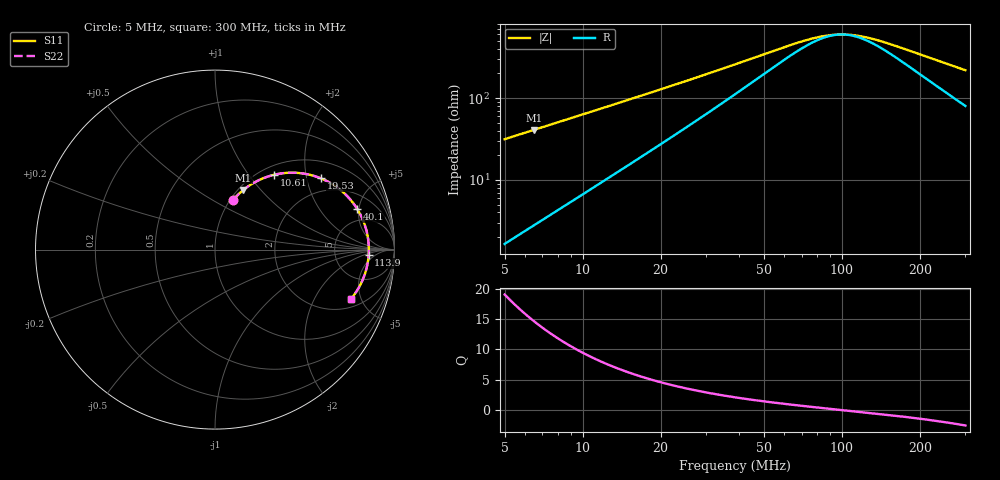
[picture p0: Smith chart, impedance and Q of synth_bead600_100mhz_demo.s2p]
! synthetic ferrite_bead synth_bead600_100mhz_demo nominal=1e-06 esr=600 srf=0.1GHz (rfauto core.vendor_passives generator)
# GHZ S RI R 50
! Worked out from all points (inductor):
!   4001 points, 5 MHz to 300 MHz, reference 50 ohm
!   read as one part in series: L = 990 nH near 6.475 MHz
!   highest Q = 14.7 at 6.475 MHz (marker M1), where L = 1 uH
!   self-resonance near 100 MHz
!   S11 on the Smith chart (normalised r, x): 5 MHz: 1.03, +0.63; 10.61 MHz: 1.15, +1.33; 19.53 MHz: 1.52, +2.44; 40.1 MHz: 3.40, +4.80; 113.9 MHz: 12, -3; 300 MHz: 2.60, -4.08
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0.005  0.102 0.2775  0.898 -0.2775  0.898 -0.2775  0.102 0.2775
0.006475  0.1587 0.3329  0.8413 -0.3329  0.8413 -0.3329  0.1587 0.3329
0.0083925  0.2378 0.3837  0.7622 -0.3837  0.7622 -0.3837  0.2378 0.3837
0.010605  0.3274 0.4165  0.6726 -0.4165  0.6726 -0.4165  0.3274 0.4165
0.01267  0.4039 0.4279  0.5961 -0.4279  0.5961 -0.4279  0.4039 0.4279
0.01503  0.4797 0.4255  0.5203 -0.4255  0.5203 -0.4255  0.4797 0.4255
0.01952875  0.5905 0.3968  0.4095 -0.3968  0.4095 -0.3968  0.5905 0.3968
0.023585  0.6602 0.3606  0.3398 -0.3606  0.3398 -0.3606  0.6602 0.3606
0.02823125  0.7156 0.3182  0.2844 -0.3182  0.2844 -0.3182  0.7156 0.3182
0.03368875  0.7593 0.2726  0.2407 -0.2726  0.2407 -0.2726  0.7593 0.2726
0.040105  0.7926 0.2262  0.2074 -0.2262  0.2074 -0.2262  0.7926 0.2262
0.05419125  0.8309 0.1477  0.1691 -0.1477  0.1691 -0.1477  0.8309 0.1477
0.06687625  0.8464 0.0954  0.1536 -0.0954  0.1536 -0.0954  0.8464 0.0954
0.07897125  0.8535 0.0555  0.1465 -0.0555  0.1465 -0.0555  0.8535 0.0555
0.090845  0.8566 0.0225  0.1434 -0.0225  0.1434 -0.0225  0.8566 0.0225
0.1033825  0.8571 -0.00778  0.1429 0.00778  0.1429 0.00778  0.8571 -0.00778
0.113855  0.8561 -0.0304  0.1439 0.0304  0.1439 0.0304  0.8561 -0.0304
0.1282362  0.8531 -0.0585  0.1469 0.0585  0.1469 0.0585  0.8531 -0.0585
0.1525  0.8453 -0.1002  0.1547 0.1002  0.1547 0.1002  0.8453 -0.1002
0.2016912  0.8218 -0.1705  0.1782 0.1705  0.1782 0.1705  0.8218 -0.1705
0.2508825  0.7915 -0.2279  0.2085 0.2279  0.2085 0.2279  0.7915 -0.2279
0.3  0.757 -0.2754  0.243 0.2754  0.243 0.2754  0.757 -0.2754
